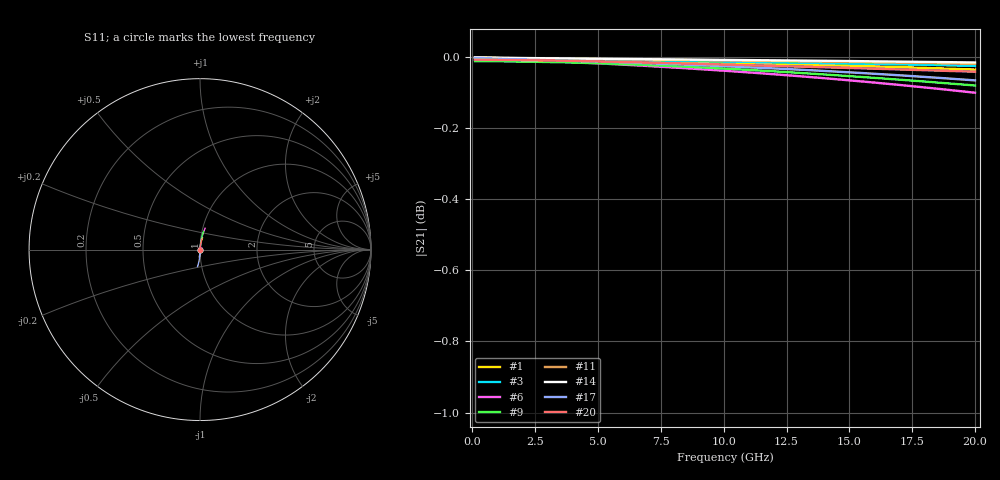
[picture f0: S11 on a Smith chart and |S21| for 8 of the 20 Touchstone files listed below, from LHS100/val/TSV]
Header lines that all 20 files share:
! Touchstone file exported from HFSS 2026.1.0
!  Design:  TSV
! Variables:
! Terminal data exported
# GHz S MA R 50.000000
Fixed: h_bsmrdl = 2um, h_ox = 20um, h_rdl = 5um, h_tmrdl = 5um, h_via = 3um, l_bsmrdl = 300um, l_tmrdl = 200um, m_sub = 200um, s_tmrdl = 10um, w_bsmrdl = 18um, w_sub = 500um, w_tmrdl = 12um, x_tsv_center1 = 206um, x_tsv_center2 = 524um, x_tsv_center3 = 736um, x_tsv_center4 = 1054um, x_tsv_center5 = 1266um, x_tsv_center6 = 1584um
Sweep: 100 MHz to 20 GHz
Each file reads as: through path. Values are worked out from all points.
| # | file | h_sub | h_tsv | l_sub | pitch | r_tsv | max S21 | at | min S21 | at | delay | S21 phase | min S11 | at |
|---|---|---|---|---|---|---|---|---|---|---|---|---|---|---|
| 1 | dut0.s2p | 97.69um | 97.69um | 417.18um | 58.65um | 8.59um | 0.00 dB | 100 MHz | 0.0 dB | 20 GHz | 1.5 ps | -5 deg at 10.1 GHz | -67.1 dB | 100 MHz |
| 2 | dut1.s2p | 80.28um | 80.28um | 426.04um | 29.66um | 13.02um | 0.00 dB | 100 MHz | -0.1 dB | 20 GHz | 1.49 ps | -5 deg at 10.1 GHz | -64.0 dB | 100 MHz |
| 3 | dut2.s2p | 57.95um | 57.95um | 410.34um | 39.16um | 5.17um | 0.00 dB | 100 MHz | 0.0 dB | 20 GHz | - | -3 deg at 10.1 GHz | -67.8 dB | 100 MHz |
| 4 | dut3.s2p | 77.95um | 77.95um | 427.72um | 35.41um | 13.86um | 0.00 dB | 100 MHz | 0.0 dB | 20 GHz | 1.22 ps | -4 deg at 10.1 GHz | -68.5 dB | 100 MHz |
| 5 | dut4.s2p | 91.24um | 91.24um | 416.96um | 23.08um | 8.48um | 0.00 dB | 100 MHz | 0.0 dB | 20 GHz | 1.3 ps | -5 deg at 10.1 GHz | -68.8 dB | 100 MHz |
| 6 | dut5.s2p | 95um | 95um | 407.48um | 49.66um | 3.74um | -0.01 dB | 100 MHz | -0.1 dB | 20 GHz | 1.69 ps | -6 deg at 10.1 GHz | -59.5 dB | 100 MHz |
| 7 | dut6.s2p | 76.33um | 76.33um | 429.88um | 40.45um | 14.94um | 0.00 dB | 100 MHz | 0.0 dB | 20 GHz | 1.14 ps | -4 deg at 10.1 GHz | -70.6 dB | 100 MHz |
| 8 | dut7.s2p | 51.49um | 51.49um | 424.56um | 44.12um | 12.28um | 0.00 dB | 100 MHz | 0.0 dB | 20 GHz | - | -3 deg at 10.1 GHz | -82.7 dB | 100 MHz |
| 9 | dut8.s2p | 64.76um | 64.76um | 404.72um | 39.39um | 2.36um | -0.01 dB | 100 MHz | -0.1 dB | 20 GHz | 1.28 ps | -5 deg at 10.1 GHz | -56.7 dB | 100 MHz |
| 10 | dut9.s2p | 86.13um | 86.13um | 426.86um | 56.23um | 13.43um | 0.00 dB | 100 MHz | 0.0 dB | 20 GHz | 1.22 ps | -4 deg at 10.1 GHz | -78.7 dB | 100 MHz |
| 11 | dut10.s2p | 72.22um | 72.22um | 422.06um | 32.7um | 11.03um | 0.00 dB | 100 MHz | 0.0 dB | 20 GHz | 1.02 ps | -4 deg at 10.1 GHz | -73.8 dB | 100 MHz |
| 12 | dut11.s2p | 73.71um | 73.71um | 410.7um | 34.65um | 5.35um | 0.00 dB | 100 MHz | 0.0 dB | 20 GHz | 1.08 ps | -4 deg at 10.1 GHz | -67.5 dB | 100 MHz |
| 13 | dut12.s2p | 56.25um | 56.25um | 408.5um | 52.13um | 4.25um | 0.00 dB | 100 MHz | 0.0 dB | 20 GHz | 1.14 ps | -4 deg at 10.1 GHz | -64.2 dB | 100 MHz |
| 14 | dut13.s2p | 52.69um | 52.69um | 419.22um | 27.5um | 9.61um | 0.00 dB | 100 MHz | 0.0 dB | 20 GHz | - | -3 deg at 10.1 GHz | -74.8 dB | 100 MHz |
| 15 | dut14.s2p | 89.59um | 89.59um | 420.14um | 48.77um | 10.07um | 0.00 dB | 100 MHz | 0.0 dB | 20 GHz | 1.26 ps | -5 deg at 10.1 GHz | -73.3 dB | 100 MHz |
| 16 | dut15.s2p | 94.41um | 94.41um | 423.46um | 39.23um | 11.73um | 0.00 dB | 100 MHz | 0.0 dB | 20 GHz | 1.27 ps | -5 deg at 10.1 GHz | -76.0 dB | 100 MHz |
| 17 | dut16.s2p | 84.46um | 84.46um | 413.94um | 17.11um | 6.97um | 0.00 dB | 100 MHz | -0.1 dB | 20 GHz | 1.33 ps | -5 deg at 10.1 GHz | -66.2 dB | 100 MHz |
| 18 | dut17.s2p | 68.43um | 68.43um | 412.84um | 43.94um | 6.42um | 0.00 dB | 100 MHz | 0.0 dB | 20 GHz | 1.07 ps | -4 deg at 10.1 GHz | -68.7 dB | 100 MHz |
| 19 | dut18.s2p | 61.23um | 61.23um | 414.78um | 56.15um | 7.39um | 0.00 dB | 100 MHz | 0.0 dB | 20 GHz | 1.06 ps | -4 deg at 10.1 GHz | -68.6 dB | 100 MHz |
| 20 | dut19.s2p | 66.39um | 66.39um | 405.96um | 26.75um | 2.98um | -0.01 dB | 100 MHz | 0.0 dB | 20 GHz | 1.03 ps | -4 deg at 10.1 GHz | -60.5 dB | 100 MHz |
